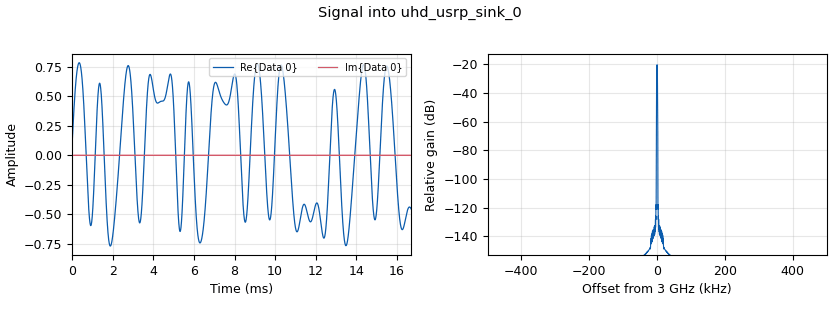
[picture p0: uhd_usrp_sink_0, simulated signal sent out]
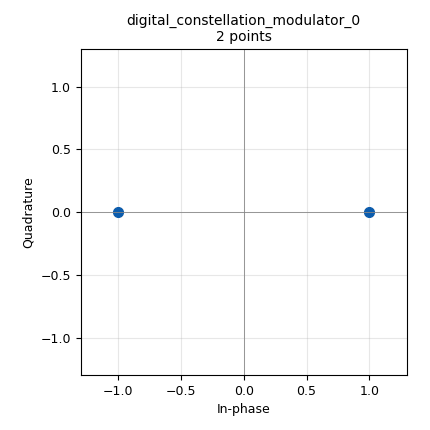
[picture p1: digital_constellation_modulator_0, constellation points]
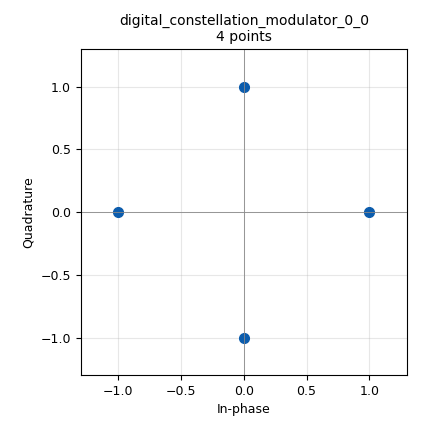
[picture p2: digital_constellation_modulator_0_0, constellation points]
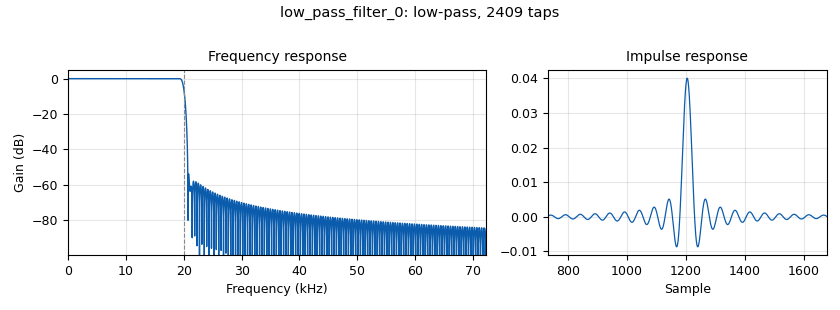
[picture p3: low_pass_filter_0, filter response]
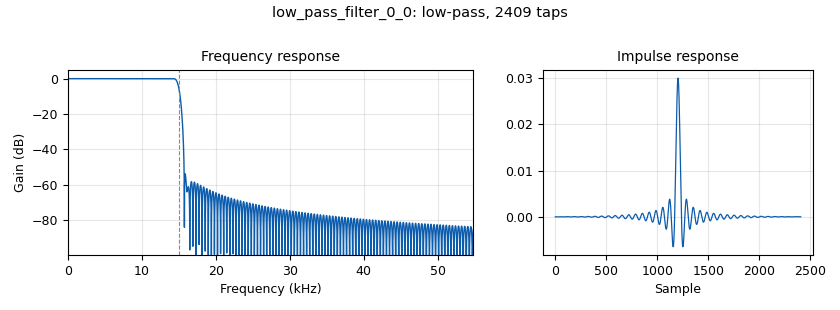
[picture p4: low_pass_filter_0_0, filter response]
options:
  parameters:
    author: Saad
    generate_options: qt_gui
    id: transmitter_v1
    output_language: python
    title: Digital_modulation
  states: {}

blocks:
- name: BPSK
  id: variable_constellation
  parameters:
    const_points: '[1, -1]'
    dims: '1'
    normalization: digital.constellation.NO_NORMALIZATION
    precision: '8'
    rot_sym: '4'
    sym_map: '[0, 1]'
    type: calcdist
  states: {}
- name: Int_gain
  id: variable_qtgui_range
  parameters:
    gui_hint: (2,2,1,1)
    label: Internal gain
    start: '0'
    step: '0.1'
    stop: '1'
    value: '0.5'
    widget: counter
  states: {}
- name: Noise_Profile
  id: variable_qtgui_range
  parameters:
    gui_hint: (1,2,1,1)
    label: Noise_floor
    min_len: '100000'
    start: '-500'
    step: '0.01'
    stop: '500'
    value: '-10.0'
    widget: counter
  states: {}
- name: PSK16
  id: variable_constellation
  parameters:
    const_points: '[1.0000+0.0000j, 0.9239+0.3827j, 0.7071+0.7071j, 0.3827+0.9239j, 0.0000+1.0000j, -0.3827+0.9238j, -0.7071+0.7071j, -0.9239+0.3827j, -1.0000+0.0000j, -0.9239-0.3827j, -0.7071-0.7071j, -0.3827-0.9239j, 0.0000-1.0000j, 0.3827-0.9239j, 0.7071-0.7071j, 0.9239-0.3827j]'
    dims: '1'
    normalization: digital.constellation.NO_NORMALIZATION
    precision: '8'
    rot_sym: '4'
    sym_map: '[0, 1, 2, 3, 4, 5, 6, 7, 8, 9, 10, 11, 12, 13, 14, 15]'
    type: calcdist
  states: {}
- name: PSK8
  id: variable_constellation
  parameters:
    const_points: '[1.0000 + 0.0000j, 0.7071 + 0.7071j, 0.0000 + 1.0000j, -0.7071 + 0.7071j, -1.0000 + 0.0000j, -0.7071 - 0.7071j, 0.0000 - 1.0000j, 0.7071 - 0.7071j]'
    dims: '1'
    normalization: digital.constellation.NO_NORMALIZATION
    precision: '8'
    rot_sym: '4'
    sym_map: '[0, 1, 2, 3, 4, 5, 6, 7]'
    type: calcdist
  states: {}
- name: QAM16
  id: variable_constellation
  parameters:
    const_points: '[-3.0000 + 3.0000j,  -3.0000 + 1.0000j,  -3.0000 - 3.0000j,  -3.0000 - 1.0000j, -1.0000 + 3.0000j,  -1.0000 + 1.0000j,  -1.0000 - 3.0000j,  -1.0000 - 1.0000j, 3.0000 + 3.0000j,   3.0000 + 1.0000j,   3.0000 - 3.0000j,   3.0000 - 1.0000j, 1.0000 + 3.0000j,   1.0000 + 1.0000j,   1.0000 - 3.0000j,   1.0000 - 1.0000j]'
    dims: '1'
    normalization: digital.constellation.NO_NORMALIZATION
    precision: '8'
    rot_sym: '4'
    sym_map: '[0, 1, 2, 3, 4, 5, 6, 7, 8, 9, 10, 11, 12, 13, 14, 15]'
    type: calcdist
  states: {}
- name: QAM32
  id: variable_constellation
  parameters:
    const_points: |-
      [-3.0000+5.0000j,-1.0000+5.0000j,-3.0000-5.0000j,-1.0000-5.0000j,-5.0000+3.0000j,-5.0000+1.0000j,-5.0000-3.0000j,-5.0000-1.0000j,
      -1.0000+3.0000j,-1.0000+1.0000j,-1.0000-3.0000j,-1.0000-1.0000j,-3.0000+3.0000j,-3.0000+1.0000j,-3.0000-3.0000j,-3.0000-1.0000j,
      3.0000+5.0000j,1.0000+5.0000j,3.0000-5.0000j,1.0000-5.0000j,5.0000+3.0000j,5.0000+1.0000j,5.0000-3.0000j,5.0000-1.0000j,
      1.0000+3.0000j,1.0000+1.0000j,1.0000-3.0000j,1.0000-1.0000j,3.0000+3.0000j,3.0000+1.0000j,3.0000-3.0000j,3.0000-1.0000j]
    dims: '1'
    normalization: digital.constellation.NO_NORMALIZATION
    precision: '8'
    rot_sym: '4'
    sym_map: '[0,1,2,3,4,5,6,7,8,9,10,11,12,13,14,15,16,17,18,19,20,21,22,23,24,25,26,27,28,29,30,31]'
    type: calcdist
  states: {}
- name: QAM64
  id: variable_constellation
  parameters:
    const_points: '[-7.0000+7.0000j,-7.0000+5.0000j,-7.0000+1.0000j,-7.0000+3.0000j,-7.0000-7.0000j,-7.0000-5.0000j,-7.0000-1.0000j,-7.0000-3.0000j,-5.0000+7.0000j,-5.0000+5.0000j,-5.0000+1.0000j,-5.0000+3.0000j,-5.0000-7.0000j,-5.0000-5.0000j,-5.0000-1.0000j,-5.0000-3.0000j,-1.0000+7.0000j,-1.0000+5.0000j,-1.0000+1.0000j,-1.0000+3.0000j,-1.0000-7.0000j,-1.0000-5.0000j,-1.0000-1.0000j,-1.0000-3.0000j,-3.0000+7.0000j,-3.0000+5.0000j,-3.0000+1.0000j,-3.0000+3.0000j,-3.0000-7.0000j,-3.0000-5.0000j,-3.0000-1.0000j,-3.0000-3.0000j,7.0000+7.0000j,7.0000+5.0000j,7.0000+1.0000j,7.0000+3.0000j,7.0000-7.0000j,7.0000-5.0000j,7.0000-1.0000j,7.0000-3.0000j,5.0000+7.0000j,5.0000+5.0000j,5.0000+1.0000j,5.0000+3.0000j,5.0000-7.0000j,5.0000-5.0000j,5.0000-1.0000j,5.0000-3.0000j,1.0000+7.0000j,1.0000+5.0000j,1.0000+1.0000j,1.0000+3.0000j,1.0000-7.0000j,1.0000-5.0000j,1.0000-1.0000j,1.0000-3.0000j,3.0000+7.0000j,3.0000+5.0000j,3.0000+1.0000j,3.0000+3.0000j,3.0000-7.0000j,3.0000-5.0000j,3.0000-1.0000j,3.0000-3.0000j]'
    dims: '1'
    normalization: digital.constellation.NO_NORMALIZATION
    precision: '8'
    rot_sym: '4'
    sym_map: '[0,1,2,3,4,5,6,7,8,9,10,11,12,13,14,15,16,17,18,19,20,21,22,23,24,25,26,27,28,29,30,31,32,33,34,35,36,37,38,39,40,41,42,43,44,45,46,47,48,49,50,51,52,53,54,55,56,57,58,59,60,61,62,63]'
    type: calcdist
  states: {}
- name: QPSK
  id: variable_constellation
  parameters:
    const_points: '[1, 1j, -1, -1j]'
    dims: '1'
    normalization: digital.constellation.NO_NORMALIZATION
    precision: '8'
    rot_sym: '4'
    sym_map: '[0, 1, 2, 3]'
    type: calcdist
  states: {}
- name: RX_gain
  id: variable_qtgui_range
  parameters:
    gui_hint: (2,0,1,1)
    label: RX
    start: '0'
    step: '0.5'
    stop: '31.5'
    value: '28'
    widget: counter
  states: {}
- name: TX_gain
  id: variable_qtgui_range
  parameters:
    gui_hint: (1,0,1,1)
    label: TX
    start: '0'
    step: '0.5'
    stop: '31.5'
    value: '28'
    widget: counter
  states: {}
- name: phase_cor
  id: variable_qtgui_range
  parameters:
    gui_hint: (10,0,1,3)
    label: phase_cor
    start: '0'
    step: '0.01'
    stop: '6.28'
    value: '0'
  states: {}
- name: samp_rate
  id: variable
  parameters:
    value: 1e6
  states: {}
- name: select_stream
  id: variable_qtgui_chooser
  parameters:
    gui_hint: (0,0,1,3)
    label: Select Modulation
    labels: '[''BPSK'',''QPSK'',''PSK8'',''PSK16'',''QAM16'',''QAM32'',''QAM64'',''NULL'',''Sine'']'
    num_opts: '0'
    options: '[0, 1, 2, 3, 4, 5, 6,7,8]'
    orient: Qt.QHBoxLayout
    type: int
    value: '0'
    widget: radio_buttons
  states: {}
- name: Ess_Total_Power
  id: qtgui_number_sink
  parameters:
    graph_type: qtgui.NUM_GRAPH_NONE
    gui_hint: (6,1,1,1)
    max: '1000'
    min: '-1000'
    name: Ess_Total_Power
    type: float
  states: {}
- name: Ess_Total_Power_dB
  id: qtgui_number_sink
  parameters:
    graph_type: qtgui.NUM_GRAPH_NONE
    gui_hint: (6,2,1,1)
    max: '1000'
    min: '-1000'
    name: Ess_Total_Power_dB
    type: float
  states: {}
- name: SNR
  id: qtgui_number_sink
  parameters:
    graph_type: qtgui.NUM_GRAPH_NONE
    gui_hint: (6,0,1,1)
    name: SNR
    type: float
  states: {}
- name: analog_const_source_x_0
  id: analog_const_source_x
  parameters:
    const: '0'
    type: complex
  states: {}
- name: analog_const_source_x_1
  id: analog_const_source_x
  parameters:
    const: '0'
    type: complex
  states: {}
- name: analog_random_uniform_source_x_0
  id: analog_random_uniform_source_x
  parameters:
    maximum: '255'
    minimum: '0'
    seed: '0'
    type: byte
  states: {}
- name: analog_random_uniform_source_x_0_0
  id: analog_random_uniform_source_x
  parameters:
    maximum: '255'
    minimum: '0'
    seed: '0'
    type: byte
  states: {}
- name: analog_random_uniform_source_x_0_0_0
  id: analog_random_uniform_source_x
  parameters:
    maximum: '255'
    minimum: '0'
    seed: '0'
    type: byte
  states: {}
- name: analog_random_uniform_source_x_0_0_0_0
  id: analog_random_uniform_source_x
  parameters:
    maximum: '255'
    minimum: '0'
    seed: '0'
    type: byte
  states: {}
- name: analog_random_uniform_source_x_0_0_1
  id: analog_random_uniform_source_x
  parameters:
    maximum: '255'
    minimum: '0'
    seed: '0'
    type: byte
  states: {}
- name: analog_random_uniform_source_x_0_0_2
  id: analog_random_uniform_source_x
  parameters:
    maximum: '255'
    minimum: '0'
    seed: '0'
    type: byte
  states: {}
- name: analog_random_uniform_source_x_0_0_3
  id: analog_random_uniform_source_x
  parameters:
    maximum: '255'
    minimum: '0'
    seed: '0'
    type: byte
  states: {}
- name: analog_sig_source_x_0
  id: analog_sig_source_x
  parameters:
    amp: '1'
    freq: '1000'
    offset: '0'
    phase: '0'
    samp_rate: samp_rate/25
    type: complex
    waveform: analog.GR_COS_WAVE
  states: {}
- name: blocks_add_const_vxx_0
  id: blocks_add_const_vxx
  parameters:
    const: Noise_Profile*-1
    type: float
  states: {}
- name: blocks_add_xx_0
  id: blocks_add_xx
  parameters:
    type: complex
  states: {}
- name: blocks_complex_to_mag_squared_0
  id: blocks_complex_to_mag_squared
  parameters:
    vlen: '4096'
  states: {}
- name: blocks_multiply_const_vxx_0
  id: blocks_multiply_const_vxx
  parameters:
    const: '0.1543'
    type: complex
  states: {}
- name: blocks_multiply_const_vxx_0_0
  id: blocks_multiply_const_vxx
  parameters:
    const: '0.2236'
    type: complex
  states: {}
- name: blocks_multiply_const_vxx_0_1
  id: blocks_multiply_const_vxx
  parameters:
    const: '0.3162'
    type: complex
  states: {}
- name: blocks_multiply_const_vxx_0_2
  id: blocks_multiply_const_vxx
  parameters:
    const: '1'
    type: complex
  states: {}
- name: blocks_multiply_const_vxx_0_3
  id: blocks_multiply_const_vxx
  parameters:
    const: '1'
    type: complex
  states: {}
- name: blocks_multiply_const_vxx_0_4
  id: blocks_multiply_const_vxx
  parameters:
    const: '1'
    type: complex
  states: {}
- name: blocks_multiply_const_vxx_0_5
  id: blocks_multiply_const_vxx
  parameters:
    const: '1'
    type: complex
  states: {}
- name: blocks_multiply_const_vxx_1
  id: blocks_multiply_const_vxx
  parameters:
    const: Int_gain
    type: complex
  states: {}
- name: blocks_multiply_const_xx_0
  id: blocks_multiply_const_xx
  parameters:
    const: 0.000244*0.000244
    type: float
    vlen: '4096'
  states: {}
- name: blocks_nlog10_ff_0
  id: blocks_nlog10_ff
  parameters:
    k: '0'
    n: '10'
  states: {}
- name: blocks_phase_shift_0
  id: blocks_phase_shift
  parameters:
    is_radians: 'True'
    shift: phase_cor
  states: {}
- name: blocks_selector_0
  id: blocks_selector
  parameters:
    enabled: 'True'
    input_index: select_stream
    num_inputs: '9'
    num_outputs: '1'
    output_index: '0'
    type: complex
  states: {}
- name: blocks_stream_to_vector_0
  id: blocks_stream_to_vector
  parameters:
    num_items: '4096'
    type: complex
  states: {}
- name: digital_constellation_modulator_0
  id: digital_constellation_modulator
  parameters:
    constellation: BPSK
    differential: 'True'
    excess_bw: '0.35'
    samples_per_symbol: '16'
    truncate: 'True'
  states: {}
- name: digital_constellation_modulator_0_0
  id: digital_constellation_modulator
  parameters:
    constellation: QPSK
    differential: 'True'
    excess_bw: '0.35'
    samples_per_symbol: '16'
    truncate: 'True'
  states: {}
- name: digital_constellation_modulator_0_0_0
  id: digital_constellation_modulator
  parameters:
    constellation: PSK16
    differential: 'True'
    excess_bw: '0.35'
    samples_per_symbol: '16'
    truncate: 'True'
  states: {}
- name: digital_constellation_modulator_0_0_0_0
  id: digital_constellation_modulator
  parameters:
    constellation: QAM16
    differential: 'True'
    excess_bw: '0.35'
    samples_per_symbol: '16'
    truncate: 'True'
  states: {}
- name: digital_constellation_modulator_0_0_0_1
  id: digital_constellation_modulator
  parameters:
    constellation: QAM64
    differential: 'True'
    excess_bw: '0.35'
    samples_per_symbol: '16'
    truncate: 'True'
  states: {}
- name: digital_constellation_modulator_0_0_0_2
  id: digital_constellation_modulator
  parameters:
    constellation: QAM32
    differential: 'True'
    excess_bw: '0.35'
    samples_per_symbol: '16'
    truncate: 'True'
  states: {}
- name: digital_constellation_modulator_0_0_1
  id: digital_constellation_modulator
  parameters:
    constellation: PSK8
    differential: 'True'
    excess_bw: '0.35'
    samples_per_symbol: '16'
    truncate: 'True'
  states: {}
- name: epy_block_0
  id: epy_block
  parameters:
    _source_code: |
      """
      Embedded Python Blocks:

      Each time this file is saved, GRC will instantiate the first class it finds
      to get ports and parameters of your block. The arguments to __init__  will
      be the parameters. All of them are required to have default values!
      """

      import numpy as np
      from gnuradio import gr


      class blk(gr.sync_block):  # other base classes are basic_block, decim_block, interp_block
          """Embedded Python Block example - a simple multiply const"""

          def __init__(self, n=4096):  # only default arguments here
              """arguments to this function show up as parameters in GRC"""
              gr.sync_block.__init__(
                  self,
                  name='Summation over k interval',   # will show up in GRC
                  in_sig=[(np.float32,n)],
                  out_sig=[np.float32]
              )
              # if an attribute with the same name as a parameter is found,
              # a callback is registered (properties work, too).
              self.n = n

          def work(self, input_items, output_items):
              """example: multiply with constant"""
              x = input_items[0]
              y = output_items[0]
              y[:] = np.sum(x[0][:])#[1748:2348]) #2.93kHz
              return len(output_items[0])
    n: '4096'
  states: {}
- name: fft_vxx_0
  id: fft_vxx
  parameters:
    fft_size: '4096'
    forward: 'True'
    shift: 'True'
    type: complex
    window: '[]'
  states: {}
- name: low_pass_filter_0
  id: low_pass_filter
  parameters:
    cutoff_freq: 20e3
    decim: '1'
    gain: '1'
    samp_rate: samp_rate
    type: fir_filter_ccf
    width: 1e3
    win: window.WIN_HAMMING
  states: {}
- name: low_pass_filter_0_0
  id: low_pass_filter
  parameters:
    cutoff_freq: 15e3
    decim: '1'
    gain: '1'
    samp_rate: samp_rate
    type: fir_filter_ccf
    width: 1e3
    win: window.WIN_HAMMING
  states: {}
- name: note_0
  id: note
  parameters:
    note: Average Power per symbol is restricted to Unit in Constellation.
  states: {}
- name: note_1
  id: note
  parameters:
    note: 2500 Symbols per Second i.e. Implies  1M samples per second
  states: {}
- name: note_2
  id: note
  parameters:
    note: signal Bandwidth ~= 2.9kHz, implies frequency bins [1748-2348]... in total 600!.... Considering the total 4096
  states: {}
- name: qtgui_sink_x_0
  id: qtgui_sink_x
  parameters:
    bw: 40e3
    fc: '0'
    fftsize: '1024'
    gui_hint: (3,0,3,3)
    type: complex
  states: {}
- name: qtgui_time_sink_x_0
  id: qtgui_time_sink_x
  parameters:
    gui_hint: (7,0,3,3)
    nconnections: '2'
    size: '8192'
    srate: samp_rate
    type: complex
  states: {}
- name: rational_resampler_xxx_0_0
  id: rational_resampler_xxx
  parameters:
    decim: '1'
    interp: '25'
    type: ccc
  states: {}
- name: rational_resampler_xxx_0_0_0_0
  id: rational_resampler_xxx
  parameters:
    decim: '25'
    interp: '1'
    type: ccc
  states: {}
- name: uhd_usrp_sink_0
  id: uhd_usrp_sink
  parameters:
    ant0: '"TX/RX"'
    center_freq0: 3e9
    clock_source0: mimo
    dev_args: '"addr=192.168.10.5"'
    gain0: TX_gain
    samp_rate: samp_rate
    sync: none
    time_source0: mimo
    type: fc32
  states: {}
- name: uhd_usrp_source_0
  id: uhd_usrp_source
  parameters:
    ant0: '"TX/RX"'
    center_freq0: 3e9
    dev_args: '"addr=192.168.10.4"'
    gain0: RX_gain
    samp_rate: samp_rate
    sync: none
    type: fc32
  states: {}
- name: zeromq_pub_sink_0
  id: zeromq_pub_sink
  parameters:
    address: tcp://127.0.0.1:55555
    timeout: '100'
    type: complex
  states: {}

connections:
- [analog_const_source_x_0, '0', blocks_selector_0, '7']
- [analog_const_source_x_1, '0', blocks_add_xx_0, '0']
- [analog_random_uniform_source_x_0, '0', digital_constellation_modulator_0, '0']
- [analog_random_uniform_source_x_0_0, '0', digital_constellation_modulator_0_0, '0']
- [analog_random_uniform_source_x_0_0_0, '0', digital_constellation_modulator_0_0_0_2, '0']
- [analog_random_uniform_source_x_0_0_0_0, '0', digital_constellation_modulator_0_0_0_1, '0']
- [analog_random_uniform_source_x_0_0_1, '0', digital_constellation_modulator_0_0_0_0, '0']
- [analog_random_uniform_source_x_0_0_2, '0', digital_constellation_modulator_0_0_1, '0']
- [analog_random_uniform_source_x_0_0_3, '0', digital_constellation_modulator_0_0_0, '0']
- [analog_sig_source_x_0, '0', blocks_selector_0, '8']
- [blocks_add_const_vxx_0, '0', SNR, '0']
- [blocks_add_xx_0, '0', blocks_multiply_const_vxx_1, '0']
- [blocks_complex_to_mag_squared_0, '0', blocks_multiply_const_xx_0, '0']
- [blocks_multiply_const_vxx_0, '0', blocks_selector_0, '6']
- [blocks_multiply_const_vxx_0_0, '0', blocks_selector_0, '5']
- [blocks_multiply_const_vxx_0_1, '0', blocks_selector_0, '4']
- [blocks_multiply_const_vxx_0_2, '0', blocks_selector_0, '0']
- [blocks_multiply_const_vxx_0_3, '0', blocks_selector_0, '2']
- [blocks_multiply_const_vxx_0_4, '0', blocks_selector_0, '3']
- [blocks_multiply_const_vxx_0_5, '0', blocks_selector_0, '1']
- [blocks_multiply_const_vxx_1, '0', rational_resampler_xxx_0_0, '0']
- [blocks_multiply_const_xx_0, '0', epy_block_0, '0']
- [blocks_nlog10_ff_0, '0', Ess_Total_Power_dB, '0']
- [blocks_nlog10_ff_0, '0', blocks_add_const_vxx_0, '0']
- [blocks_phase_shift_0, '0', low_pass_filter_0_0, '0']
- [blocks_phase_shift_0, '0', qtgui_time_sink_x_0, '1']
- [blocks_selector_0, '0', blocks_add_xx_0, '1']
- [blocks_stream_to_vector_0, '0', fft_vxx_0, '0']
- [digital_constellation_modulator_0, '0', blocks_multiply_const_vxx_0_2, '0']
- [digital_constellation_modulator_0_0, '0', blocks_multiply_const_vxx_0_5, '0']
- [digital_constellation_modulator_0_0_0, '0', blocks_multiply_const_vxx_0_4, '0']
- [digital_constellation_modulator_0_0_0_0, '0', blocks_multiply_const_vxx_0_1, '0']
- [digital_constellation_modulator_0_0_0_1, '0', blocks_multiply_const_vxx_0, '0']
- [digital_constellation_modulator_0_0_0_2, '0', blocks_multiply_const_vxx_0_0, '0']
- [digital_constellation_modulator_0_0_1, '0', blocks_multiply_const_vxx_0_3, '0']
- [epy_block_0, '0', Ess_Total_Power, '0']
- [epy_block_0, '0', blocks_nlog10_ff_0, '0']
- [fft_vxx_0, '0', blocks_complex_to_mag_squared_0, '0']
- [low_pass_filter_0, '0', qtgui_time_sink_x_0, '0']
- [low_pass_filter_0, '0', uhd_usrp_sink_0, '0']
- [low_pass_filter_0_0, '0', rational_resampler_xxx_0_0_0_0, '0']
- [rational_resampler_xxx_0_0, '0', low_pass_filter_0, '0']
- [rational_resampler_xxx_0_0_0_0, '0', blocks_stream_to_vector_0, '0']
- [rational_resampler_xxx_0_0_0_0, '0', qtgui_sink_x_0, '0']
- [rational_resampler_xxx_0_0_0_0, '0', zeromq_pub_sink_0, '0']
- [uhd_usrp_source_0, '0', blocks_phase_shift_0, '0']

metadata:
  file_format: 1
